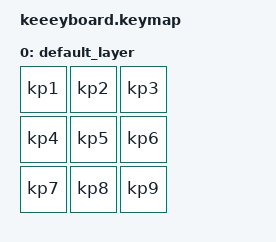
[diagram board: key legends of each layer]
// This file was generated from a template. Edit it to match your keyboard.
// See https://zmk.dev/docs/development/hardware-integration/new-shield for more instructions.

#include <behaviors.dtsi>
#include <dt-bindings/zmk/keys.h>

/ {
    // Define a default keymap here.
    // See https://zmk.dev/docs/development/hardware-integration/new-shield#default-keymap.
    keymap {
        compatible = "zmk,keymap";

        default_layer {
            bindings = <
                &kp KP_N1  &kp KP_N2  &kp KP_N3
                &kp KP_N4  &kp KP_N5  &kp KP_N6
                &kp KP_N7  &kp KP_N8  &kp KP_N9
            >;
        };
    };
};
